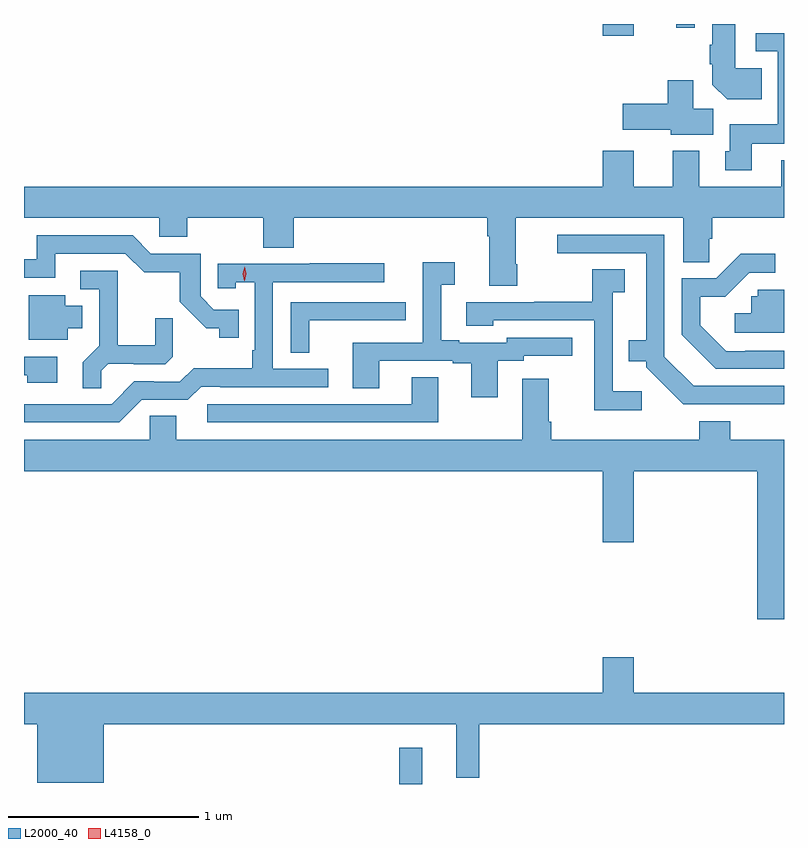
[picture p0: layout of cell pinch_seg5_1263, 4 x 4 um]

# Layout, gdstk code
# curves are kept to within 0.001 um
import gdstk
lib = gdstk.Library(unit=1e-6, precision=1e-09)
def R(c, l, rs):  # rectangles x0, y0, x1, y1
    for r in rs: c.add(gdstk.rectangle(r[:2], r[2:], *l))
def P(c, l, *ps):  # polygons
    for p in ps: c.add(gdstk.Polygon(p, *l))
L2000_40 = (2000, 40)
L4158_0 = (4158, 0)

pinch_seg5_1263 = lib.new_cell('pinch_seg5_1263')
R(pinch_seg5_1263, L2000_40, [(391.71,853.781,391.831,853.972), (392.78,857.718,392.944,857.781), (393.166,857.76,393.264,857.781)])
P(pinch_seg5_1263, L2000_40, [(393.617,857.548),(393.478,857.548),(393.478,857.781),(393.356,857.781),(393.356,857.672),(393.344,857.672),(393.344,857.569),(393.356,857.569),(393.356,857.462),(393.434,857.384),(393.617,857.384)],
  [(393.565,857.15),(393.734,857.15),(393.734,857.733),(393.585,857.733),(393.585,857.637),(393.702,857.637),(393.702,857.254),(393.449,857.254),(393.449,857.112),(393.425,857.112),(393.425,857.01),(393.565,857.01)],
  [(393.361,857.336),(393.256,857.336),(393.256,857.485),(393.122,857.485),(393.122,857.36),(392.886,857.36),(392.886,857.225),(393.138,857.225),(393.138,857.198),(393.361,857.198)],
  [(393.289,857.113),(393.149,857.113),(393.149,856.924),(392.944,856.924),(392.944,857.113),(392.78,857.113),(392.78,856.924),(389.734,856.924),(389.734,856.76),(390.447,856.76),(390.447,856.662),(390.594,856.662),(390.594,856.76),(390.994,856.76),(390.994,856.603),(391.154,856.603),(391.154,856.76),(392.171,856.76),(392.171,856.664),(392.183,856.664),(392.183,856.404),(392.331,856.404),(392.331,856.516),(392.323,856.516),(392.323,856.76),(393.203,856.76),(393.203,856.528),(393.341,856.528),(393.341,856.65),(393.356,856.65),(393.356,856.76),(393.734,856.76),(393.734,857.065),(393.719,857.065),(393.719,856.924),(393.289,856.924)],
  [(393.734,855.876),(393.258,855.876),(393.105,856.029),(393.105,856.671),(392.541,856.671),(392.541,856.575),(393.008,856.575),(393.008,856.117),(392.917,856.117),(392.917,856.007),(393.009,856.007),(393.009,855.975),(393.204,855.78),(393.734,855.779)],
  [(390.863,856.278),(390.732,856.278),(390.663,856.347),(390.663,856.572),(390.402,856.572),(390.306,856.668),(389.801,856.668),(389.801,856.542),(389.734,856.542),(389.734,856.446),(389.899,856.446),(389.899,856.572),(390.267,856.572),(390.366,856.474),(390.555,856.474),(390.555,856.318),(390.692,856.181),(390.762,856.181),(390.762,856.131),(390.863,856.131)],
  [(393.734,856.062),(393.529,856.062),(393.529,856.059),(393.429,856.059),(393.292,856.196),(393.292,856.346),(393.425,856.346),(393.552,856.473),(393.688,856.473),(393.688,856.571),(393.506,856.571),(393.378,856.443),(393.195,856.443),(393.195,856.145),(393.374,855.966),(393.734,855.966)],
  [(392.227,856.008),(392.364,856.008),(392.364,856.035),(392.62,856.035),(392.62,856.131),(392.274,856.131),(392.274,856.104),(392.026,856.104),(392.026,856.117),(391.93,856.117),(391.93,856.408),(392.002,856.408),(392.002,856.528),(391.833,856.528),(391.833,856.104),(391.463,856.104),(391.463,855.865),(391.603,855.865),(391.603,856.008),(391.991,856.008),(391.991,855.996),(392.087,855.996),(392.087,855.816),(392.227,855.816)],
  [(390.354,855.804),(390.597,855.804),(390.666,855.873),(390.766,855.873),(390.766,855.87),(391.336,855.87),(391.336,855.966),(391.044,855.966),(391.044,856.422),(391.63,856.422),(391.63,856.521),(391.237,856.521),(391.237,856.518),(390.753,856.518),(390.753,856.389),(390.849,856.389),(390.849,856.421),(390.948,856.421),(390.948,856.063),(390.936,856.063),(390.936,855.97),(390.628,855.97),(390.555,855.897),(390.416,855.897),(390.416,855.9),(390.315,855.9),(390.195,855.78),(389.734,855.78),(389.734,855.684),(390.234,855.684)],
  [(392.986,855.847),(392.832,855.847),(392.832,856.369),(392.896,856.369),(392.896,856.49),(392.724,856.49),(392.724,856.32),(392.419,856.32),(392.419,856.317),(392.061,856.317),(392.061,856.193),(392.205,856.193),(392.205,856.221),(392.736,856.221),(392.736,855.989),(392.734,855.989),(392.734,855.749),(392.986,855.749)],
  [(390.141,855.956),(390.178,855.993),(390.312,855.993),(390.312,855.99),(390.477,855.99),(390.518,856.031),(390.518,856.233),(390.424,856.233),(390.424,856.09),(390.227,856.09),(390.227,856.482),(390.03,856.482),(390.03,856.386),(390.129,856.386),(390.129,856.087),(390.043,856.001),(390.043,855.865),(390.141,855.865)],
  [(393.734,856.383),(393.597,856.383),(393.597,856.347),(393.561,856.347),(393.561,856.258),(393.474,856.258),(393.474,856.155),(393.734,856.155)],
  [(389.965,856.181),(390.04,856.181),(390.04,856.297),(389.95,856.297),(389.95,856.354),(389.759,856.354),(389.759,856.118),(389.965,856.118)],
  [(391.236,856.221),(391.631,856.221),(391.631,856.222),(391.744,856.222),(391.744,856.317),(391.137,856.317),(391.137,856.051),(391.236,856.051)],
  [(389.908,856.029),(389.734,856.029),(389.734,855.933),(389.752,855.933),(389.752,855.893),(389.908,855.893)],
  [(391.915,855.923),(391.775,855.923),(391.775,855.78),(390.699,855.78),(390.699,855.684),(391.915,855.684)],
  [(393.734,855.592),(393.452,855.592),(393.452,855.691),(393.287,855.691),(393.287,855.592),(392.51,855.592),(392.51,855.688),(392.497,855.688),(392.497,855.913),(392.357,855.913),(392.357,855.592),(390.535,855.592),(390.535,855.719),(390.396,855.719),(390.396,855.592),(389.734,855.592),(389.734,855.428),(392.78,855.428),(392.78,855.054),(392.944,855.054),(392.944,855.428),(393.593,855.428),(393.593,854.649),(393.734,854.649)],
  [(390.154,854.096),(392.009,854.096),(392.009,853.815),(392.131,853.815),(392.131,854.096),(393.734,854.096),(393.734,854.26),(392.944,854.26),(392.944,854.449),(392.78,854.449),(392.78,854.26),(389.734,854.26),(389.734,854.096),(389.804,854.096),(389.804,853.787),(390.154,853.787)])
P(pinch_seg5_1263, L4158_0, [(390.894,856.431),(390.894,856.431),(390.885,856.467),(390.895,856.503),(390.895,856.503),(390.896,856.503),(390.905,856.467),(390.895,856.431)])

lib.write_gds('pinch_seg5_1263.gds')
